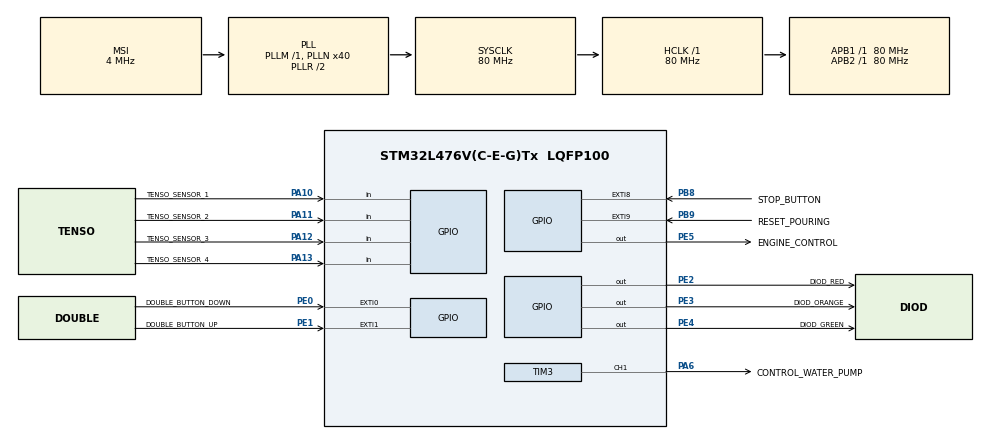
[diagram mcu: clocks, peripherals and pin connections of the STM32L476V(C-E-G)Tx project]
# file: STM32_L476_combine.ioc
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Mcu.Family=STM32L4
Mcu.Name=STM32L476V(C-E-G)Tx
Mcu.Package=LQFP100
NVIC.EXTI0_IRQn=true\:0\:0\:false\:false\:true\:true\:true\:true
NVIC.EXTI1_IRQn=true\:0\:0\:false\:false\:true\:true\:true\:true
NVIC.EXTI9_5_IRQn=true\:0\:0\:false\:false\:true\:true\:true\:true
NVIC.PriorityGroup=NVIC_PRIORITYGROUP_4
NVIC.TIM2_IRQn=true\:0\:0\:false\:false\:true\:true\:true\:true
NVIC.TIM3_IRQn=true\:0\:0\:false\:false\:true\:true\:true\:true
PA10.GPIO_Label=TENSO_SENSOR_1
PA10.Signal=GPIO_Input
PA11.GPIO_Label=TENSO_SENSOR_2
PA11.Signal=GPIO_Input
PA12.GPIO_Label=TENSO_SENSOR_3
PA12.Signal=GPIO_Input
PA13\ (JTMS-SWDIO).GPIO_Label=TENSO_SENSOR_4
PA13\ (JTMS-SWDIO).Signal=GPIO_Input
PA6.GPIO_Label=CONTROL_WATER_PUMP
PA6.Signal=S_TIM3_CH1
PB8.GPIO_Label=STOP_BUTTON
PB8.Signal=GPXTI8
PB9.GPIO_Label=RESET_POURING
PB9.Signal=GPXTI9
PE0.GPIO_Label=DOUBLE_BUTTON_DOWN
PE0.Signal=GPXTI0
PE1.GPIO_Label=DOUBLE_BUTTON_UP
PE1.Signal=GPXTI1
PE2.GPIO_Label=DIOD_RED
PE2.Signal=GPIO_Output
PE3.GPIO_Label=DIOD_ORANGE
PE3.Signal=GPIO_Output
PE4.GPIO_Label=DIOD_GREEN
PE4.Signal=GPIO_Output
PE5.GPIO_Label=ENGINE_CONTROL
PE5.Signal=GPIO_Output
ProjectManager.HeapSize=0x200
ProjectManager.StackSize=0x400
ProjectManager.TargetToolchain=STM32CubeIDE
RCC.AHBFreq_Value=80000000
RCC.APB1Freq_Value=80000000
RCC.APB1TimFreq_Value=80000000
RCC.APB2Freq_Value=80000000
RCC.APB2TimFreq_Value=80000000
RCC.CortexFreq_Value=80000000
RCC.HCLKFreq_Value=80000000
RCC.HSE_VALUE=8000000
RCC.HSI_VALUE=16000000
RCC.LSE_VALUE=32768
RCC.MSI_VALUE=4000000
RCC.PLLN=40
RCC.SYSCLKFreq_VALUE=80000000
RCC.SYSCLKSource=RCC_SYSCLKSOURCE_PLLCLK
RCC.VCOOutputFreq_Value=160000000
SH.S_TIM3_CH1.0=TIM3_CH1,Output Compare1 CH1
TIM2.Period=9999
TIM2.Prescaler=7999
TIM3.Channel-Output\ Compare1\ CH1=TIM_CHANNEL_1
TIM3.Period=9999
TIM3.Prescaler=7999
VP_TIM2_VS_ClockSourceINT.Mode=Internal
VP_TIM3_VS_ClockSourceITR.Mode=TriggerSource_ITR0
VP_TIM3_VS_ControllerModeClock.Mode=Clock Mode
board=custom

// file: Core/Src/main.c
/* USER CODE BEGIN Header */
/**
  ******************************************************************************
  * @file           : main.c
  * @brief          : Main program body
  ******************************************************************************
  * @attention
  *
  * Copyright (c) 2025 STMicroelectronics.
  * All rights reserved.
  *
  * This software is licensed under terms that can be found in the LICENSE file
  * in the root directory of this software component.
  * If no LICENSE file comes with this software, it is provided AS-IS.
  *
  ******************************************************************************
  */
/* USER CODE END Header */
#include "main.h"

/* USER CODE BEGIN Includes */
#include "diodes.h"
#include "double_button.h"
#include "engine.h"
#include "microswitch.h"
#include "stop_button.h"
#include "water_pump.h"
#include "external_device.h"
#include "lcd.h"
#include "timer.h"
/* USER CODE END Includes */

TIM_HandleTypeDef htim2;
TIM_HandleTypeDef htim3;

/* USER CODE BEGIN PV */
uint32_t gWaterPumpTime = 0;

extneralDeviceCurrentTypedef diodesCurrent;
/* USER CODE END PV */

void SystemClock_Config(void);
static void MX_GPIO_Init(void);
static void MX_TIM2_Init(void);
static void MX_TIM3_Init(void);

int main(void)
{

  /* MCU Configuration--------------------------------------------------------*/

  /* Reset of all peripherals, Initializes the Flash interface and the Systick. */
  HAL_Init();

  /* Configure the system clock */
  SystemClock_Config();

  /* Initialize all configured peripherals */
  MX_GPIO_Init();
  MX_TIM2_Init();
  MX_TIM3_Init();

  /* Infinite loop */
  while (1)
  {

    /* USER CODE BEGIN 3 */
	  vTimerInit(&gTIM2, &htim2);
	  vTimerInit(&gTIM3, &htim3);

	  switch (gExternalDevice)
	  {
		case EXTERNAL_DEVICE_DIODES:
			vDiodesCurrent(diodesCurrent.diodesID);
			break;
		case EXTERNAL_DEVICE_DOUBLE_BUTTON:
			vDoubleButtonState(deviceState.doubleButton);
			break;
		case EXTERNAL_DEVICE_ENGINE:
			vEngineState(deviceState.engine);
			break;
		case EXTERNAL_DEVICE_MICROSWITCH:
			vMicroswitchState(deviceState.microswitch);
			break;
		case EXTERNAL_DEVICE_STOP_BUTTON:
			vStopButtonState();
			break;
		case EXTERNAL_DEVICE_WATER_PUMP:
			vWaterPumpState(deviceState.waterPump, gWaterPumpTime);
			break;
		case EXTERNAL_DEVICE_LCD:
			vLCDState(deviceState.lcd);
		case EXTERNAL_DEVICE_RESET:
			;
			break;
		default:
			;
			break;
	}
  }
  /* USER CODE END 3 */
}

void SystemClock_Config(void)
{
  RCC_OscInitTypeDef RCC_OscInitStruct = {0};
  RCC_ClkInitTypeDef RCC_ClkInitStruct = {0};

  /** Configure the main internal regulator output voltage
  */
  if (HAL_PWREx_ControlVoltageScaling(PWR_REGULATOR_VOLTAGE_SCALE1) != HAL_OK)
  {
    Error_Handler();
  }

  /** Initializes the RCC Oscillators according to the specified parameters
  * in the RCC_OscInitTypeDef structure.
  */
  RCC_OscInitStruct.OscillatorType = RCC_OSCILLATORTYPE_MSI;
  RCC_OscInitStruct.MSIState = RCC_MSI_ON;
  RCC_OscInitStruct.MSICalibrationValue = 0;
  RCC_OscInitStruct.MSIClockRange = RCC_MSIRANGE_6;
  RCC_OscInitStruct.PLL.PLLState = RCC_PLL_ON;
  RCC_OscInitStruct.PLL.PLLSource = RCC_PLLSOURCE_MSI;
  RCC_OscInitStruct.PLL.PLLM = 1;
  RCC_OscInitStruct.PLL.PLLN = 40;
  RCC_OscInitStruct.PLL.PLLP = RCC_PLLP_DIV7;
  RCC_OscInitStruct.PLL.PLLQ = RCC_PLLQ_DIV2;
  RCC_OscInitStruct.PLL.PLLR = RCC_PLLR_DIV2;
  if (HAL_RCC_OscConfig(&RCC_OscInitStruct) != HAL_OK)
  {
    Error_Handler();
  }

  /** Initializes the CPU, AHB and APB buses clocks
  */
  RCC_ClkInitStruct.ClockType = RCC_CLOCKTYPE_HCLK|RCC_CLOCKTYPE_SYSCLK
                              |RCC_CLOCKTYPE_PCLK1|RCC_CLOCKTYPE_PCLK2;
  RCC_ClkInitStruct.SYSCLKSource = RCC_SYSCLKSOURCE_PLLCLK;
  RCC_ClkInitStruct.AHBCLKDivider = RCC_SYSCLK_DIV1;
  RCC_ClkInitStruct.APB1CLKDivider = RCC_HCLK_DIV1;
  RCC_ClkInitStruct.APB2CLKDivider = RCC_HCLK_DIV1;

  if (HAL_RCC_ClockConfig(&RCC_ClkInitStruct, FLASH_LATENCY_4) != HAL_OK)
  {
    Error_Handler();
  }
}

static void MX_TIM2_Init(void)
{

  TIM_ClockConfigTypeDef sClockSourceConfig = {0};
  TIM_MasterConfigTypeDef sMasterConfig = {0};

  htim2.Instance = TIM2;
  htim2.Init.Prescaler = 7999;
  htim2.Init.CounterMode = TIM_COUNTERMODE_UP;
  htim2.Init.Period = 9999;
  htim2.Init.ClockDivision = TIM_CLOCKDIVISION_DIV1;
  htim2.Init.AutoReloadPreload = TIM_AUTORELOAD_PRELOAD_DISABLE;
  if (HAL_TIM_Base_Init(&htim2) != HAL_OK)
  {
    Error_Handler();
  }
  sClockSourceConfig.ClockSource = TIM_CLOCKSOURCE_INTERNAL;
  if (HAL_TIM_ConfigClockSource(&htim2, &sClockSourceConfig) != HAL_OK)
  {
    Error_Handler();
  }
  sMasterConfig.MasterOutputTrigger = TIM_TRGO_RESET;
  sMasterConfig.MasterSlaveMode = TIM_MASTERSLAVEMODE_DISABLE;
  if (HAL_TIMEx_MasterConfigSynchronization(&htim2, &sMasterConfig) != HAL_OK)
  {
    Error_Handler();
  }

}

static void MX_TIM3_Init(void)
{

  TIM_SlaveConfigTypeDef sSlaveConfig = {0};
  TIM_MasterConfigTypeDef sMasterConfig = {0};
  TIM_OC_InitTypeDef sConfigOC = {0};

  htim3.Instance = TIM3;
  htim3.Init.Prescaler = 7999;
  htim3.Init.CounterMode = TIM_COUNTERMODE_UP;
  htim3.Init.Period = 9999;
  htim3.Init.ClockDivision = TIM_CLOCKDIVISION_DIV1;
  htim3.Init.AutoReloadPreload = TIM_AUTORELOAD_PRELOAD_DISABLE;
  if (HAL_TIM_Base_Init(&htim3) != HAL_OK)
  {
    Error_Handler();
  }
  if (HAL_TIM_OC_Init(&htim3) != HAL_OK)
  {
    Error_Handler();
  }
  sSlaveConfig.SlaveMode = TIM_SLAVEMODE_EXTERNAL1;
  sSlaveConfig.InputTrigger = TIM_TS_ITR0;
  if (HAL_TIM_SlaveConfigSynchro(&htim3, &sSlaveConfig) != HAL_OK)
  {
    Error_Handler();
  }
  sMasterConfig.MasterOutputTrigger = TIM_TRGO_RESET;
  sMasterConfig.MasterSlaveMode = TIM_MASTERSLAVEMODE_DISABLE;
  if (HAL_TIMEx_MasterConfigSynchronization(&htim3, &sMasterConfig) != HAL_OK)
  {
    Error_Handler();
  }
  sConfigOC.OCMode = TIM_OCMODE_TIMING;
  sConfigOC.Pulse = 0;
  sConfigOC.OCPolarity = TIM_OCPOLARITY_HIGH;
  sConfigOC.OCFastMode = TIM_OCFAST_DISABLE;
  if (HAL_TIM_OC_ConfigChannel(&htim3, &sConfigOC, TIM_CHANNEL_1) != HAL_OK)
  {
    Error_Handler();
  }
  HAL_TIM_MspPostInit(&htim3);

}

static void MX_GPIO_Init(void)
{
  GPIO_InitTypeDef GPIO_InitStruct = {0};

  /* GPIO Ports Clock Enable */
  __HAL_RCC_GPIOE_CLK_ENABLE();
  __HAL_RCC_GPIOA_CLK_ENABLE();
  __HAL_RCC_GPIOB_CLK_ENABLE();

  /*Configure GPIO pin Output Level */
  HAL_GPIO_WritePin(GPIOE, DIOD_RED_Pin|DIOD_ORANGE_Pin|DIOD_GREEN_Pin|ENGINE_CONTROL_Pin, GPIO_PIN_RESET);

  /*Configure GPIO pins : DIOD_RED_Pin DIOD_ORANGE_Pin DIOD_GREEN_Pin ENGINE_CONTROL_Pin */
  GPIO_InitStruct.Pin = DIOD_RED_Pin|DIOD_ORANGE_Pin|DIOD_GREEN_Pin|ENGINE_CONTROL_Pin;
  GPIO_InitStruct.Mode = GPIO_MODE_OUTPUT_PP;
  GPIO_InitStruct.Pull = GPIO_NOPULL;
  GPIO_InitStruct.Speed = GPIO_SPEED_FREQ_LOW;
  HAL_GPIO_Init(GPIOE, &GPIO_InitStruct);

  /*Configure GPIO pins : TENSO_SENSOR_1_Pin TENSO_SENSOR_2_Pin TENSO_SENSOR_3_Pin TENSO_SENSOR_4_Pin */
  GPIO_InitStruct.Pin = TENSO_SENSOR_1_Pin|TENSO_SENSOR_2_Pin|TENSO_SENSOR_3_Pin|TENSO_SENSOR_4_Pin;
  GPIO_InitStruct.Mode = GPIO_MODE_INPUT;
  GPIO_InitStruct.Pull = GPIO_NOPULL;
  HAL_GPIO_Init(GPIOA, &GPIO_InitStruct);

  /*Configure GPIO pins : STOP_BUTTON_Pin RESET_POURING_Pin */
  GPIO_InitStruct.Pin = STOP_BUTTON_Pin|RESET_POURING_Pin;
  GPIO_InitStruct.Mode = GPIO_MODE_IT_RISING;
  GPIO_InitStruct.Pull = GPIO_NOPULL;
  HAL_GPIO_Init(GPIOB, &GPIO_InitStruct);

  /*Configure GPIO pins : DOUBLE_BUTTON_DOWN_Pin DOUBLE_BUTTON_UP_Pin */
  GPIO_InitStruct.Pin = DOUBLE_BUTTON_DOWN_Pin|DOUBLE_BUTTON_UP_Pin;
  GPIO_InitStruct.Mode = GPIO_MODE_IT_RISING;
  GPIO_InitStruct.Pull = GPIO_NOPULL;
  HAL_GPIO_Init(GPIOE, &GPIO_InitStruct);

  /* EXTI interrupt init*/
  HAL_NVIC_SetPriority(EXTI0_IRQn, 0, 0);
  HAL_NVIC_EnableIRQ(EXTI0_IRQn);

  HAL_NVIC_SetPriority(EXTI1_IRQn, 0, 0);
  HAL_NVIC_EnableIRQ(EXTI1_IRQn);

  HAL_NVIC_SetPriority(EXTI9_5_IRQn, 0, 0);
  HAL_NVIC_EnableIRQ(EXTI9_5_IRQn);

}

void Error_Handler(void)
{
  __disable_irq();
  while (1)
  {
  }
}
